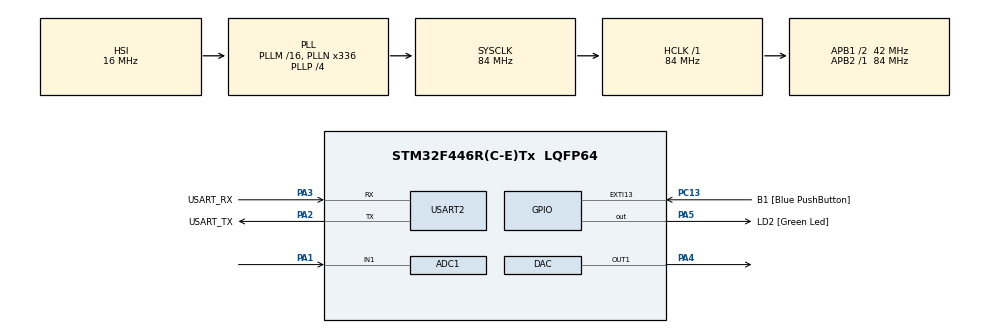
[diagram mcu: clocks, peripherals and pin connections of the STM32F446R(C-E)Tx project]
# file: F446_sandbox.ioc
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ADC1.Channel-1\#ChannelRegularConversion=ADC_CHANNEL_1
ADC1.DMAContinuousRequests=ENABLE
ADC1.ExternalTrigConv=ADC_EXTERNALTRIGCONV_T3_TRGO
ADC1.NbrOfConversion=1
ADC1.NbrOfConversionFlag=1
ADC1.Rank-1\#ChannelRegularConversion=1
ADC1.SamplingTime-1\#ChannelRegularConversion=ADC_SAMPLETIME_3CYCLES
ADC1.master=1
DAC.DAC_Trigger=DAC_TRIGGER_T2_TRGO
Dma.ADC1.0.Direction=DMA_PERIPH_TO_MEMORY
Dma.ADC1.0.FIFOMode=DMA_FIFOMODE_DISABLE
Dma.ADC1.0.Instance=DMA2_Stream0
Dma.ADC1.0.MemDataAlignment=DMA_MDATAALIGN_HALFWORD
Dma.ADC1.0.MemInc=DMA_MINC_ENABLE
Dma.ADC1.0.Mode=DMA_CIRCULAR
Dma.ADC1.0.PeriphDataAlignment=DMA_PDATAALIGN_HALFWORD
Dma.ADC1.0.PeriphInc=DMA_PINC_DISABLE
Dma.ADC1.0.Priority=DMA_PRIORITY_LOW
Dma.DAC1.1.Direction=DMA_MEMORY_TO_PERIPH
Dma.DAC1.1.FIFOMode=DMA_FIFOMODE_DISABLE
Dma.DAC1.1.Instance=DMA1_Stream5
Dma.DAC1.1.MemDataAlignment=DMA_MDATAALIGN_HALFWORD
Dma.DAC1.1.MemInc=DMA_MINC_ENABLE
Dma.DAC1.1.Mode=DMA_CIRCULAR
Dma.DAC1.1.PeriphDataAlignment=DMA_PDATAALIGN_HALFWORD
Dma.DAC1.1.PeriphInc=DMA_PINC_DISABLE
Dma.DAC1.1.Priority=DMA_PRIORITY_LOW
Dma.Request0=ADC1
Dma.Request1=DAC1
Mcu.Family=STM32F4
Mcu.Name=STM32F446R(C-E)Tx
Mcu.Package=LQFP64
NVIC.ADC_IRQn=true\:0\:0\:false\:false\:true\:true\:true\:true
NVIC.DMA1_Stream5_IRQn=true\:0\:0\:false\:false\:true\:false\:true\:true
NVIC.DMA2_Stream0_IRQn=true\:0\:0\:false\:false\:true\:false\:true\:true
NVIC.PriorityGroup=NVIC_PRIORITYGROUP_0
PA1.Signal=ADCx_IN1
PA13.GPIO_Label=TMS
PA13.Mode=Serial_Wire
PA13.Signal=SYS_JTMS-SWDIO
PA14.GPIO_Label=TCK
PA14.Mode=Serial_Wire
PA14.Signal=SYS_JTCK-SWCLK
PA2.GPIO_Label=USART_TX
PA2.Mode=Asynchronous
PA2.Signal=USART2_TX
PA3.GPIO_Label=USART_RX
PA3.Mode=Asynchronous
PA3.Signal=USART2_RX
PA4.Signal=COMP_DAC1_group
PA5.GPIO_Label=LD2 [Green Led]
PA5.Signal=GPIO_Output
PB3.GPIO_Label=SWO
PB3.Signal=SYS_JTDO-SWO
PC13.GPIO_Label=B1 [Blue PushButton]
PC13.GPIO_ModeDefaultEXTI=GPIO_MODE_IT_FALLING
PC13.Signal=GPXTI13
PC14-OSC32_IN.Mode=LSE-External-Oscillator
PC14-OSC32_IN.Signal=RCC_OSC32_IN
PC15-OSC32_OUT.Mode=LSE-External-Oscillator
PC15-OSC32_OUT.Signal=RCC_OSC32_OUT
PH0-OSC_IN.Mode=HSE-External-Oscillator
PH0-OSC_IN.Signal=RCC_OSC_IN
PH1-OSC_OUT.Mode=HSE-External-Oscillator
PH1-OSC_OUT.Signal=RCC_OSC_OUT
ProjectManager.HeapSize=0x200
ProjectManager.StackSize=0x400
ProjectManager.TargetToolchain=STM32CubeIDE
RCC.48MHZClocksFreq_Value=84000000
RCC.AHBFreq_Value=84000000
RCC.APB1CLKDivider=RCC_HCLK_DIV2
RCC.APB1Freq_Value=42000000
RCC.APB1TimFreq_Value=84000000
RCC.APB2Freq_Value=84000000
RCC.APB2TimFreq_Value=84000000
RCC.CortexFreq_Value=84000000
RCC.FLatency-AdvancedSettings=FLASH_LATENCY_2
RCC.HCLKFreq_Value=84000000
RCC.HSE_VALUE=8000000
RCC.HSI_VALUE=16000000
RCC.PLLN=336
RCC.PLLP=RCC_PLLP_DIV4
RCC.SYSCLKFreq_VALUE=84000000
RCC.SYSCLKSource=RCC_SYSCLKSOURCE_PLLCLK
RCC.USBFreq_Value=168000000
RCC.VCOOutputFreq_Value=336000000
SH.ADCx_IN1.0=ADC1_IN1,IN1
SH.COMP_DAC1_group.0=DAC_OUT1,DAC_OUT1
TIM2.AutoReloadPreload=TIM_AUTORELOAD_PRELOAD_ENABLE
TIM2.Period=2-1
TIM2.Prescaler=42-1
TIM2.TIM_MasterOutputTrigger=TIM_TRGO_UPDATE
TIM3.AutoReloadPreload=TIM_AUTORELOAD_PRELOAD_ENABLE
TIM3.Period=2-1
TIM3.Prescaler=42-1
TIM3.TIM_MasterOutputTrigger=TIM_TRGO_UPDATE
USART2.VirtualMode=VM_ASYNC
VP_TIM2_VS_ClockSourceINT.Mode=Internal
VP_TIM3_VS_ClockSourceINT.Mode=Internal
board=NUCLEO-F446RE

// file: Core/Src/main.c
/* USER CODE BEGIN Header */
/**
  ******************************************************************************
  * @file           : main.c
  * @brief          : Main program body
  ******************************************************************************
  * @attention
  *
  * Copyright (c) 2024 STMicroelectronics.
  * All rights reserved.
  *
  * This software is licensed under terms that can be found in the LICENSE file
  * in the root directory of this software component.
  * If no LICENSE file comes with this software, it is provided AS-IS.
  *
  ******************************************************************************
  */
/* USER CODE END Header */
#include "main.h"
#include "adc.h"
#include "dac.h"
#include "dma.h"
#include "tim.h"
#include "usart.h"
#include "gpio.h"

/* USER CODE BEGIN PD */

// buffer size for the ADC values
#define ADC_BUFFER_SIZE 600
#define LookUpTableSize 100

// IIR | Butterworth | LPF | order = 1 | cutoff = 7.5 Hz | fs = 1MHz
#define NZEROS 1
#define NPOLES 1
#define GAIN   4.245131737e+003

static float xv[NZEROS+1], yv[NPOLES+1];

#define NUM_CHUNKS 10

/* USER CODE END PD */

/* USER CODE BEGIN PV */

// const uint16_t sineLookupTable[] = {
// 2048, 2060, 2073, 2085, 2098, 2110, 2123, 2135, 2148, 2161, 2173, 2186, 2198, 2211, 2223, 2236, 2248, 2261, 2273, 2286, 2298, 2311, 2323, 2335, 2348, 2360, 2373, 2385, 2398, 2410, 2422, 2435, 2447, 2459, 2472, 2484, 2496, 2508, 2521, 2533, 2545, 2557, 2569, 2581, 2594, 2606, 2618, 2630, 2642, 2654, 2666, 2678, 2690, 2702, 2714, 2725, 2737, 2749, 2761, 2773, 2784, 2796, 2808, 2819, 2831, 2843, 2854, 2866, 2877, 2889, 2900, 2912, 2923, 2934, 2946, 2957, 2968, 2979, 2990, 3002, 3013, 3024, 3035, 3046, 3057, 3068, 3078, 3089, 3100, 3111, 3122, 3132, 3143, 3154, 3164, 3175, 3185, 3195, 3206, 3216,
// 3226, 3237, 3247, 3257, 3267, 3277, 3287, 3297, 3307, 3317, 3327, 3337, 3346, 3356, 3366, 3375, 3385, 3394, 3404, 3413, 3423, 3432, 3441, 3450, 3459, 3468, 3477, 3486, 3495, 3504, 3513, 3522, 3530, 3539, 3548, 3556, 3565, 3573, 3581, 3590, 3598, 3606, 3614, 3622, 3630, 3638, 3646, 3654, 3662, 3669, 3677, 3685, 3692, 3700, 3707, 3714, 3722, 3729, 3736, 3743, 3750, 3757, 3764, 3771, 3777, 3784, 3791, 3797, 3804, 3810, 3816, 3823, 3829, 3835, 3841, 3847, 3853, 3859, 3865, 3871, 3876, 3882, 3888, 3893, 3898, 3904, 3909, 3914, 3919, 3924, 3929, 3934, 3939, 3944, 3949, 3953, 3958, 3962, 3967, 3971,
// 3975, 3980, 3984, 3988, 3992, 3996, 3999, 4003, 4007, 4010, 4014, 4017, 4021, 4024, 4027, 4031, 4034, 4037, 4040, 4042, 4045, 4048, 4051, 4053, 4056, 4058, 4060, 4063, 4065, 4067, 4069, 4071, 4073, 4075, 4076, 4078, 4080, 4081, 4083, 4084, 4085, 4086, 4087, 4088, 4089, 4090, 4091, 4092, 4093, 4093, 4094, 4094, 4094, 4095, 4095, 4095, 4095, 4095, 4095, 4095, 4094, 4094, 4094, 4093, 4093, 4092, 4091, 4090, 4089, 4088, 4087, 4086, 4085, 4084, 4083, 4081, 4080, 4078, 4076, 4075, 4073, 4071, 4069, 4067, 4065, 4063, 4060, 4058, 4056, 4053, 4051, 4048, 4045, 4042, 4040, 4037, 4034, 4031, 4027, 4024,
// 4021, 4017, 4014, 4010, 4007, 4003, 3999, 3996, 3992, 3988, 3984, 3980, 3975, 3971, 3967, 3962, 3958, 3953, 3949, 3944, 3939, 3934, 3929, 3924, 3919, 3914, 3909, 3904, 3898, 3893, 3888, 3882, 3876, 3871, 3865, 3859, 3853, 3847, 3841, 3835, 3829, 3823, 3816, 3810, 3804, 3797, 3791, 3784, 3777, 3771, 3764, 3757, 3750, 3743, 3736, 3729, 3722, 3714, 3707, 3700, 3692, 3685, 3677, 3669, 3662, 3654, 3646, 3638, 3630, 3622, 3614, 3606, 3598, 3590, 3581, 3573, 3565, 3556, 3548, 3539, 3530, 3522, 3513, 3504, 3495, 3486, 3477, 3468, 3459, 3450, 3441, 3432, 3423, 3413, 3404, 3394, 3385, 3375, 3366, 3356,
// 3346, 3337, 3327, 3317, 3307, 3297, 3287, 3277, 3267, 3257, 3247, 3237, 3226, 3216, 3206, 3195, 3185, 3175, 3164, 3154, 3143, 3132, 3122, 3111, 3100, 3089, 3078, 3068, 3057, 3046, 3035, 3024, 3013, 3002, 2990, 2979, 2968, 2957, 2946, 2934, 2923, 2912, 2900, 2889, 2877, 2866, 2854, 2843, 2831, 2819, 2808, 2796, 2784, 2773, 2761, 2749, 2737, 2725, 2714, 2702, 2690, 2678, 2666, 2654, 2642, 2630, 2618, 2606, 2594, 2581, 2569, 2557, 2545, 2533, 2521, 2508, 2496, 2484, 2472, 2459, 2447, 2435, 2422, 2410, 2398, 2385, 2373, 2360, 2348, 2335, 2323, 2311, 2298, 2286, 2273, 2261, 2248, 2236, 2223, 2211,
// 2198, 2186, 2173, 2161, 2148, 2135, 2123, 2110, 2098, 2085, 2073, 2060, 2048, 2035, 2022, 2010, 1997, 1985, 1972, 1960, 1947, 1934, 1922, 1909, 1897, 1884, 1872, 1859, 1847, 1834, 1822, 1809, 1797, 1784, 1772, 1760, 1747, 1735, 1722, 1710, 1697, 1685, 1673, 1660, 1648, 1636, 1623, 1611, 1599, 1587, 1574, 1562, 1550, 1538, 1526, 1514, 1501, 1489, 1477, 1465, 1453, 1441, 1429, 1417, 1405, 1393, 1381, 1370, 1358, 1346, 1334, 1322, 1311, 1299, 1287, 1276, 1264, 1252, 1241, 1229, 1218, 1206, 1195, 1183, 1172, 1161, 1149, 1138, 1127, 1116, 1105, 1093, 1082, 1071, 1060, 1049, 1038, 1027, 1017, 1006,
// 995, 984, 973, 963, 952, 941, 931, 920, 910, 900, 889, 879, 869, 858, 848, 838, 828, 818, 808, 798, 788, 778, 768, 758, 749, 739, 729, 720, 710, 701, 691, 682, 672, 663, 654, 645, 636, 627, 618, 609, 600, 591, 582, 573, 565, 556, 547, 539, 530, 522, 514, 505, 497, 489, 481, 473, 465, 457, 449, 441, 433, 426, 418, 410, 403, 395, 388, 381, 373, 366, 359, 352, 345, 338, 331, 324, 318, 311, 304, 298, 291, 285, 279, 272, 266, 260, 254, 248, 242, 236, 230, 224, 219, 213, 207, 202, 197, 191, 186, 181,
// 176, 171, 166, 161, 156, 151, 146, 142, 137, 133, 128, 124, 120, 115, 111, 107, 103, 99, 96, 92, 88, 85, 81, 78, 74, 71, 68, 64, 61, 58, 55, 53, 50, 47, 44, 42, 39, 37, 35, 32, 30, 28, 26, 24, 22, 20, 19, 17, 15, 14, 12, 11, 10, 9, 8, 7, 6, 5, 4, 3, 2, 2, 1, 1, 1, 0, 0, 0, 0, 0, 0, 0, 1, 1, 1, 2, 2, 3, 4, 5, 6, 7, 8, 9, 10, 11, 12, 14, 15, 17, 19, 20, 22, 24, 26, 28, 30, 32, 35, 37,
// 39, 42, 44, 47, 50, 53, 55, 58, 61, 64, 68, 71, 74, 78, 81, 85, 88, 92, 96, 99, 103, 107, 111, 115, 120, 124, 128, 133, 137, 142, 146, 151, 156, 161, 166, 171, 176, 181, 186, 191, 197, 202, 207, 213, 219, 224, 230, 236, 242, 248, 254, 260, 266, 272, 279, 285, 291, 298, 304, 311, 318, 324, 331, 338, 345, 352, 359, 366, 373, 381, 388, 395, 403, 410, 418, 426, 433, 441, 449, 457, 465, 473, 481, 489, 497, 505, 514, 522, 530, 539, 547, 556, 565, 573, 582, 591, 600, 609, 618, 627,
// 636, 645, 654, 663, 672, 682, 691, 701, 710, 720, 729, 739, 749, 758, 768, 778, 788, 798, 808, 818, 828, 838, 848, 858, 869, 879, 889, 900, 910, 920, 931, 941, 952, 963, 973, 984, 995, 1006, 1017, 1027, 1038, 1049, 1060, 1071, 1082, 1093, 1105, 1116, 1127, 1138, 1149, 1161, 1172, 1183, 1195, 1206, 1218, 1229, 1241, 1252, 1264, 1276, 1287, 1299, 1311, 1322, 1334, 1346, 1358, 1370, 1381, 1393, 1405, 1417, 1429, 1441, 1453, 1465, 1477, 1489, 1501, 1514, 1526, 1538, 1550, 1562, 1574, 1587, 1599, 1611, 1623, 1636, 1648, 1660, 1673, 1685, 1697, 1710, 1722, 1735,
// 1747, 1760, 1772, 1784, 1797, 1809, 1822, 1834, 1847, 1859, 1872, 1884, 1897, 1909, 1922, 1934, 1947, 1960, 1972, 1985, 1997, 2010, 2022, 2035
// };

// sine wave lookup table | length = 100
// 12 bit max value is 4095
const uint16_t sineLookupTable[] = {
2048, 2176, 2304, 2431, 2557, 2680, 2801, 2919,
3034, 3145, 3251, 3353, 3449, 3540, 3625, 3704,
3776, 3842, 3900, 3951, 3995, 4031, 4059, 4079,
4091, 4095, 4091, 4079, 4059, 4031, 3995, 3951,
3900, 3842, 3776, 3704, 3625, 3540, 3449, 3353,
3251, 3145, 3034, 2919, 2801, 2680, 2557, 2431,
2304, 2176, 2048, 1919, 1791, 1664, 1538, 1415,
1294, 1176, 1061, 950, 844, 742, 646, 555,
470, 391, 319, 253, 195, 144, 100, 64,
36, 16, 4, 0, 4, 16, 36, 64,
100, 144, 195, 253, 319, 391, 470, 555,
646, 742, 844, 950, 1061, 1176, 1294, 1415,
1538, 1664, 1791, 1919, 2047
}; //101 -> change later to 100

const float sineLookupTableFloat[] = {
 0.0000000000, 0.0627905195, 0.1253332336, 0.1873813146,
 0.2486898872, 0.3090169944, 0.3681245527, 0.4257792916,
 0.4817536741, 0.5358267950, 0.5877852523, 0.6374239897,
 0.6845471059, 0.7289686274, 0.7705132428, 0.8090169944,
 0.8443279255, 0.8763066800, 0.9048270525, 0.9297764859,
 0.9510565163, 0.9685831611, 0.9822872507, 0.9921147013,
 0.9980267284, 1.0000000000, 0.9980267284, 0.9921147013,
 0.9822872507, 0.9685831611, 0.9510565163, 0.9297764859,
 0.9048270525, 0.8763066800, 0.8443279255, 0.8090169944,
 0.7705132428, 0.7289686274, 0.6845471059, 0.6374239897,
 0.5877852523, 0.5358267950, 0.4817536741, 0.4257792916,
 0.3681245527, 0.3090169944, 0.2486898872, 0.1873813146,
 0.1253332336, 0.0627905195, 0.0000000000,-0.0627905195,
-0.1253332336,-0.1873813146,-0.2486898872,-0.3090169944,
-0.3681245527,-0.4257792916,-0.4817536741,-0.5358267950,
-0.5877852523,-0.6374239897,-0.6845471059,-0.7289686274,
-0.7705132428,-0.8090169944,-0.8443279255,-0.8763066800,
-0.9048270525,-0.9297764859,-0.9510565163,-0.9685831611,
-0.9822872507,-0.9921147013,-0.9980267284,-1.0000000000,
-0.9980267284,-0.9921147013,-0.9822872507,-0.9685831611,
-0.9510565163,-0.9297764859,-0.9048270525,-0.8763066800,
-0.8443279255,-0.8090169944,-0.7705132428,-0.7289686274,
-0.6845471059,-0.6374239897,-0.5877852523,-0.5358267950,
-0.4817536741,-0.4257792916,-0.3681245527,-0.3090169944,
-0.2486898872,-0.1873813146,-0.1253332336,-0.0627905195 };

const float cosineLookupTableFloat[] = {
1.0000000000, 0.9980267284, 0.9921147013,
 0.9822872507, 0.9685831611, 0.9510565163, 0.9297764859,
 0.9048270525, 0.8763066800, 0.8443279255, 0.8090169944,
 0.7705132428, 0.7289686274, 0.6845471059, 0.6374239897,
 0.5877852523, 0.5358267950, 0.4817536741, 0.4257792916,
 0.3681245527, 0.3090169944, 0.2486898872, 0.1873813146,
 0.1253332336, 0.0627905195, 0.0000000000,-0.0627905195,
-0.1253332336,-0.1873813146,-0.2486898872,-0.3090169944,
-0.3681245527,-0.4257792916,-0.4817536741,-0.5358267950,
-0.5877852523,-0.6374239897,-0.6845471059,-0.7289686274,
-0.7705132428,-0.8090169944,-0.8443279255,-0.8763066800,
-0.9048270525,-0.9297764859,-0.9510565163,-0.9685831611,
-0.9822872507,-0.9921147013,-0.9980267284,-1.0000000000,
-0.9980267284,-0.9921147013,-0.9822872507,-0.9685831611,
-0.9510565163,-0.9297764859,-0.9048270525,-0.8763066800,
-0.8443279255,-0.8090169944,-0.7705132428,-0.7289686274,
-0.6845471059,-0.6374239897,-0.5877852523,-0.5358267950,
-0.4817536741,-0.4257792916,-0.3681245527,-0.3090169944,
-0.2486898872,-0.1873813146,-0.1253332336,-0.0627905195,
0.0000000000, 0.0627905195, 0.1253332336, 0.1873813146,
 0.2486898872, 0.3090169944, 0.3681245527, 0.4257792916,
 0.4817536741, 0.5358267950, 0.5877852523, 0.6374239897,
 0.6845471059, 0.7289686274, 0.7705132428, 0.8090169944,
 0.8443279255, 0.8763066800, 0.9048270525, 0.9297764859,
 0.9510565163, 0.9685831611, 0.9822872507, 0.9921147013,
 0.9980267284
};

// temp buffer to store the ADC values | length = 600
uint16_t ADC_buffer[ADC_BUFFER_SIZE];
// temp buffer
uint16_t ADC_buffer_temp[ADC_BUFFER_SIZE/2];
float ADC_buffer_temp_float[ADC_BUFFER_SIZE/2];
// output buffer
uint16_t LOCK_IN_OUT[ADC_BUFFER_SIZE/2];

// pointers to the ADC buffer using ping-pong technique
uint16_t *ADC_buffer1 = &ADC_buffer[0];
uint16_t *ADC_buffer2 = &ADC_buffer[ADC_BUFFER_SIZE/2];

uint16_t temp[4];

/* USER CODE END PV */

void SystemClock_Config(void);
/* USER CODE BEGIN PFP */
uint16_t calculate_mean(uint16_t* samples, uint16_t num_samples);
float calculata_mean_float(float* samples, uint16_t num_samples);
void replace_dot_with_comma(char* str);

void lock_in_calculation(void);// all variables are global for now

/* USER CODE END PFP */

int main(void)
{

  /* MCU Configuration--------------------------------------------------------*/

  /* Reset of all peripherals, Initializes the Flash interface and the Systick. */
  HAL_Init();

  /* Configure the system clock */
  SystemClock_Config();

  /* Initialize all configured peripherals */
  MX_GPIO_Init();
  MX_DMA_Init();
  MX_USART2_UART_Init();
  MX_ADC1_Init();
  MX_TIM3_Init();
  MX_DAC_Init();
  MX_TIM2_Init();
  /* USER CODE BEGIN 2 */

  char buffer[50];
  sprintf(buffer, "TEST...\n\r");
  HAL_UART_Transmit(&huart2, (uint8_t*)buffer, strlen(buffer), HAL_MAX_DELAY);

  // start the ADC with IT
  HAL_ADC_Start_DMA(&hadc1, (uint32_t*)ADC_buffer, ADC_BUFFER_SIZE);

  // start the DAC channel 1 with DMA
  HAL_DAC_Start_DMA(&hdac, DAC_CHANNEL_1, (uint32_t*)sineLookupTable, LookUpTableSize, DAC_ALIGN_12B_R);

  //HAL_ADC_Start_IT(&hadc1);
    // start the timer 3
    HAL_TIM_Base_Start(&htim3);
    // start the timer 2
    HAL_TIM_Base_Start(&htim2);

  /* USER CODE END 2 */

  /* Infinite loop */
  while (1)
  {

  }
}

void SystemClock_Config(void)
{
  RCC_OscInitTypeDef RCC_OscInitStruct = {0};
  RCC_ClkInitTypeDef RCC_ClkInitStruct = {0};

  /** Configure the main internal regulator output voltage
  */
  __HAL_RCC_PWR_CLK_ENABLE();
  __HAL_PWR_VOLTAGESCALING_CONFIG(PWR_REGULATOR_VOLTAGE_SCALE3);

  /** Initializes the RCC Oscillators according to the specified parameters
  * in the RCC_OscInitTypeDef structure.
  */
  RCC_OscInitStruct.OscillatorType = RCC_OSCILLATORTYPE_HSI;
  RCC_OscInitStruct.HSIState = RCC_HSI_ON;
  RCC_OscInitStruct.HSICalibrationValue = RCC_HSICALIBRATION_DEFAULT;
  RCC_OscInitStruct.PLL.PLLState = RCC_PLL_ON;
  RCC_OscInitStruct.PLL.PLLSource = RCC_PLLSOURCE_HSI;
  RCC_OscInitStruct.PLL.PLLM = 16;
  RCC_OscInitStruct.PLL.PLLN = 336;
  RCC_OscInitStruct.PLL.PLLP = RCC_PLLP_DIV4;
  RCC_OscInitStruct.PLL.PLLQ = 2;
  RCC_OscInitStruct.PLL.PLLR = 2;
  if (HAL_RCC_OscConfig(&RCC_OscInitStruct) != HAL_OK)
  {
    Error_Handler();
  }

  /** Initializes the CPU, AHB and APB buses clocks
  */
  RCC_ClkInitStruct.ClockType = RCC_CLOCKTYPE_HCLK|RCC_CLOCKTYPE_SYSCLK
                              |RCC_CLOCKTYPE_PCLK1|RCC_CLOCKTYPE_PCLK2;
  RCC_ClkInitStruct.SYSCLKSource = RCC_SYSCLKSOURCE_PLLCLK;
  RCC_ClkInitStruct.AHBCLKDivider = RCC_SYSCLK_DIV1;
  RCC_ClkInitStruct.APB1CLKDivider = RCC_HCLK_DIV2;
  RCC_ClkInitStruct.APB2CLKDivider = RCC_HCLK_DIV1;

  if (HAL_RCC_ClockConfig(&RCC_ClkInitStruct, FLASH_LATENCY_2) != HAL_OK)
  {
    Error_Handler();
  }
}

/* USER CODE BEGIN 4 */
// half transfer callback function for the ADC
void HAL_ADC_ConvHalfCpltCallback(ADC_HandleTypeDef* hadc)
{

    // prescale the ADC value to  range -3.3V to 3.3V and store it in the ADC_buffer_temp_float
    for (uint16_t i = 0; i < ADC_BUFFER_SIZE/2; i++)
    {
        ADC_buffer_temp_float[i] = (float)ADC_buffer1[i] * 1.0 / 4095.0;
    }

    // calculate the mean value of the ADC_buffer_temp_float
    float mean = calculata_mean_float(ADC_buffer_temp_float, ADC_BUFFER_SIZE/2);

    // // remove the DC offset
    // for (uint16_t i = 0; i < ADC_BUFFER_SIZE/2; i++)
    // {
    //     ADC_buffer_temp_float[i] = ADC_buffer_temp_float[i] - mean;
    // }

  // iterate over the first half of the buffer
  for (uint16_t i = 0; i < ADC_BUFFER_SIZE/2; i++)
  {

    // remove the DC offset
    ADC_buffer_temp_float[i] = ADC_buffer_temp_float[i] - mean;

    // char buffer[50];
    // sprintf(buffer, "Signal2 = %f.\r\n",ADC_buffer_temp_float[i]);
    // HAL_UART_Transmit(&huart2, (uint8_t*)buffer, strlen(buffer), HAL_MAX_DELAY);

    // multiply the ADC value with the sine wave value
    ADC_buffer_temp_float[i] = ADC_buffer_temp_float[i]*sineLookupTableFloat[i%100];

    // IIR filter
    xv[0] = xv[1];
    xv[1] = ADC_buffer_temp_float[i] / GAIN;
    yv[0] = yv[1];
    yv[1] =   (xv[0] + xv[1])
                  + (  0.9995288721 * yv[0]);
    ADC_buffer_temp_float[i] = yv[1];

    // multiply by the square root of 2
    ADC_buffer_temp_float[i] = ADC_buffer_temp_float[i] * 1.41421356237;

    // send the value every 10 samples
//    if(i%299 == 0)
//    {
//      // send the value to the serial port
//      char buffer[50];
//      sprintf(buffer, "Signal1 = %lu, Signal2 = %lu\r\n", ADC_buffer_temp[i],ADC_buffer1[i]);
//      HAL_UART_Transmit(&huart2, (uint8_t*)buffer, strlen(buffer), HAL_MAX_DELAY);
//    }

//     // send the value to the serial port
//     char buffer[50];
// //    sprintf(buffer, "Signal1 = %lu\r\n", ADC_buffer_temp[i]);
//     sprintf(buffer, "Signal1 = %lu\r\n", ADC_buffer_temp[i]);
//     HAL_UART_Transmit(&huart2, (uint8_t*)buffer, strlen(buffer), HAL_MAX_DELAY);

      char buffer[50];
      sprintf(buffer, "Signal2 = %f\r\n",ADC_buffer_temp_float[i]);
      //replace_dot_with_comma(buffer);
      HAL_UART_Transmit(&huart2, (uint8_t*)buffer, strlen(buffer), HAL_MAX_DELAY);

  }
  // take whole ADC_buffer_temp and transmit it via UART by adding the "Signal1 = " string to every value using sprintf
  //HAL_UART_Transmit(&huart2, (uint8_t*)ADC_buffer_temp, ADC_BUFFER_SIZE/2, HAL_MAX_DELAY);

}

// callback function for the ADC conversion complete
void HAL_ADC_ConvCpltCallback(ADC_HandleTypeDef* hadc)
{

    // prescale the ADC value to  range -3.3V to 3.3V and store it in the ADC_buffer_temp_float
    for (uint16_t i = 0; i < ADC_BUFFER_SIZE/2; i++)
    {
        ADC_buffer_temp_float[i] = (float)ADC_buffer1[i] * 1.0 / 4095.0;
    }

    // calculate the mean value of the ADC_buffer_temp_float
    float mean = calculata_mean_float(ADC_buffer_temp_float, ADC_BUFFER_SIZE/2);

    // // remove the DC offset
    // for (uint16_t i = 0; i < ADC_BUFFER_SIZE/2; i++)
    // {
    //     ADC_buffer_temp_float[i] = ADC_buffer_temp_float[i] - mean;
    // }

  // iterate over the first half of the buffer
  for (uint16_t i = 0; i < ADC_BUFFER_SIZE/2; i++)
  {

    // remove the DC offset
    ADC_buffer_temp_float[i] = ADC_buffer_temp_float[i] - mean;

    // char buffer[50];
    // sprintf(buffer, "Signal2 = %f.\r\n",ADC_buffer_temp_float[i]);
    // HAL_UART_Transmit(&huart2, (uint8_t*)buffer, strlen(buffer), HAL_MAX_DELAY);

    // multiply the ADC value with the sine wave value
    ADC_buffer_temp_float[i] = ADC_buffer_temp_float[i]*sineLookupTableFloat[i%100];

    // IIR filter
    xv[0] = xv[1];
    xv[1] = ADC_buffer_temp_float[i] / GAIN;
    yv[0] = yv[1];
    yv[1] =   (xv[0] + xv[1])
                  + (  0.9995288721 * yv[0]);
    ADC_buffer_temp_float[i] = yv[1];

    // multiply by the square root of 2
    ADC_buffer_temp_float[i] = ADC_buffer_temp_float[i] * 1.41421356237;

    // send the value every 10 samples
//    if(i%299 == 0)
//    {
//      // send the value to the serial port
//      char buffer[50];
//      sprintf(buffer, "Signal1 = %lu, Signal2 = %lu\r\n", ADC_buffer_temp[i],ADC_buffer1[i]);
//      HAL_UART_Transmit(&huart2, (uint8_t*)buffer, strlen(buffer), HAL_MAX_DELAY);
//    }

//     // send the value to the serial port
//     char buffer[50];
// //    sprintf(buffer, "Signal1 = %lu\r\n", ADC_buffer_temp[i]);
//     sprintf(buffer, "Signal1 = %lu\r\n", ADC_buffer_temp[i]);
//     HAL_UART_Transmit(&huart2, (uint8_t*)buffer, strlen(buffer), HAL_MAX_DELAY);

      char buffer[50];
      sprintf(buffer, "Signal2 = %f\r\n",ADC_buffer_temp_float[i]);
      //replace_dot_with_comma(buffer);
      HAL_UART_Transmit(&huart2, (uint8_t*)buffer, strlen(buffer), HAL_MAX_DELAY);

  }
  // take whole ADC_buffer_temp and transmit it via UART by adding the "Signal1 = " string to every value using sprintf
  //HAL_UART_Transmit(&huart2, (uint8_t*)ADC_buffer_temp, ADC_BUFFER_SIZE/2, HAL_MAX_DELAY);

}

// Function to replace dot with comma in a string
void replace_dot_with_comma(char* str) {
    while (*str != '\0') {
        if (*str == '.') {
            *str = ',';
        }
        str++;
    }
}

// Function to calculate the mean value using chunked summation
uint16_t calculate_mean(uint16_t* samples, uint16_t num_samples) {
    uint32_t partial_sums[NUM_CHUNKS] = {0};
    uint32_t total_sum = 0;
    uint16_t chunk_size = num_samples / NUM_CHUNKS;

    // Calculate partial sums
    for (uint16_t i = 0; i < NUM_CHUNKS; i++) {
        for (uint16_t j = 0; j < chunk_size; j++) {
            partial_sums[i] += samples[i * chunk_size + j];
        }
    }

    // Combine partial sums
    for (uint16_t i = 0; i < NUM_CHUNKS; i++) {
        total_sum += partial_sums[i];
    }

    // Handle any remaining samples
    uint16_t remaining_samples = num_samples % NUM_CHUNKS;
    for (uint16_t i = num_samples - remaining_samples; i < num_samples; i++) {
        total_sum += samples[i];
    }

    // Calculate mean
    return (uint16_t)(total_sum / num_samples);
}

float calculata_mean_float(float* samples, uint16_t num_samples) {
    float partial_sums[NUM_CHUNKS] = {0};
    float total_sum = 0;
    uint16_t chunk_size = num_samples / NUM_CHUNKS;

    // Calculate partial sums
    for (uint16_t i = 0; i < NUM_CHUNKS; i++) {
        for (uint16_t j = 0; j < chunk_size; j++) {
            partial_sums[i] += samples[i * chunk_size + j];
        }
    }

    // Combine partial sums
    for (uint16_t i = 0; i < NUM_CHUNKS; i++) {
        total_sum += partial_sums[i];
    }

    // Handle any remaining samples
    uint16_t remaining_samples = num_samples % NUM_CHUNKS;
    for (uint16_t i = num_samples - remaining_samples; i < num_samples; i++) {
        total_sum += samples[i];
    }

    // Calculate mean
    return total_sum / num_samples;
}

/* USER CODE END 4 */

void Error_Handler(void)
{
  __disable_irq();
  while (1)
  {
  }
}
